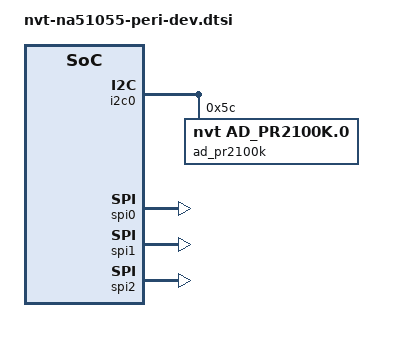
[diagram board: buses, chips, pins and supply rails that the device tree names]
/*
 * Novatek Ltd. NA51055 BSP part of dts
 *
 * Cortex-A9
 *
 */


#include <dt-bindings/gpio/nvt-gpio.h>

&i2c0 {
	#address-cells = <1>;
	#size-cells = <0>;

	ad_pr2100k@0 {
		compatible = "nvt,ad_pr2100k.0";
		reg = <0x5c>;								// 7-bit slave register
		power_cfg {
			mclk_sel = "MCLK2";						// ex : "MCLK" or "MCLK2" or "MCLK3"

			///////////////////////////////////////////////////////////////////////////////////////////////////
			// io control description                                                                        //
			// io_ctl0@0~19(max) = <io_pin 	 level   hold time>                                              //
			//   io_pin - (3 types)                                                                          //
			//     1. pin name (ex. S_GPIO(4), PGPIO(0), ...)                                                //
			//     2. 0xfffe: the following commands will only applied on 'power on' sequence (default)      //
			//     3. 0xfffd: the following commands will only applied on 'power off' sequence               //
			//   level - 1: pull high, 0: pull low                                                           //
			//   hold time - delay time (us)                                                                 //
			///////////////////////////////////////////////////////////////////////////////////////////////////
			//// power on ////
			io_ctl0 = <0xfffe		0 0>;			// power on
			io_ctl1 = <S_GPIO(5)	1 200000>;		// reset
			io_ctl2 = <S_GPIO(5)	0 200000>;		// reset
			io_ctl3 = <S_GPIO(5)	1 200000>;		// reset

			//// power off ////
			io_ctl4 = <0xfffd		0 0>;			// power off
			io_ctl5 = <S_GPIO(4)	0 1000>;		// reset
		};

		outport@0 {
			inport = <0 1>;
			signal = <1>;							// 0: parallel, 1:mipi
		};
	};
/*	dummy_i2c_dev: dummy_i2c@1a {
		compatible = "nvt,dummy_i2c_dev";
		reg = <0x1a>;
	};
*/
};

&i2c1 {
	#address-cells = <1>;
	#size-cells = <0>;
};

&i2c2 {
	#address-cells = <1>;
	#size-cells = <0>;
};

&spi0 {
	status = "okay";
	#address-cells = <1>;
	#size-cells = <0>;

/*	dummy_spi_dev: dummy_spi_dev@0 {
		compatible = "dummy_spi_dev.0";
		reg = <0>; // Chip select 0
		spi-max-frequency = <1000000>;
		spi-cpol;
        };
*/
};

&spi1 {
	status = "okay";
};

&spi2 {
	status = "okay";
};
